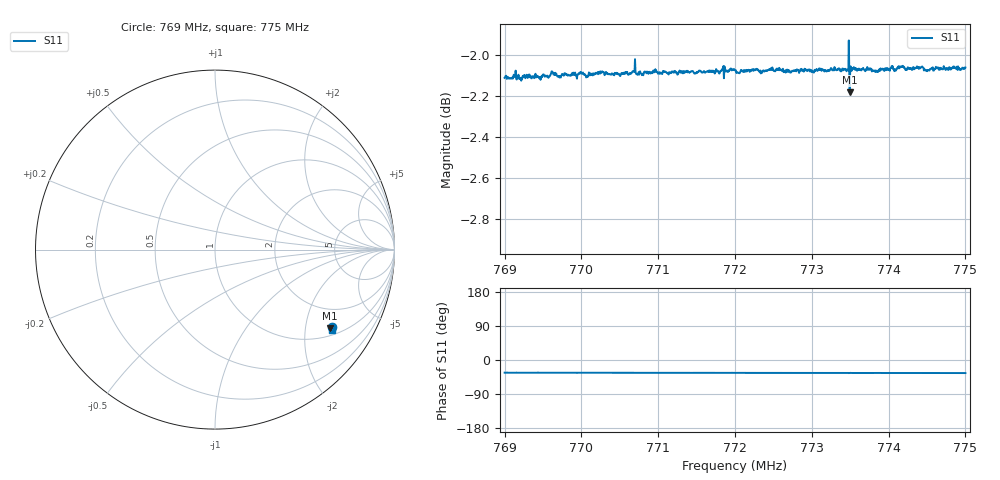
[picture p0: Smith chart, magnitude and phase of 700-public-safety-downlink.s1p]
! Calibrated averaged scanner-service zoom
# Hz S RI R 50
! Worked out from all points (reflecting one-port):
!   1001 points, 769 MHz to 775 MHz, reference 50 ohm
!   lowest |S11| = -2.2 dB at 773.494 MHz (marker M1), VSWR 8.00, Z = 61.6 - j137 ohm
!   phase of S11 starts at -34 deg and turns -1 deg over the sweep
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7.69e8  0.6537 -0.433
7.69114e8  0.6537 -0.4343
7.6918e8  0.6543 -0.4346
7.69348e8  0.6531 -0.4335
7.6945e8  0.6537 -0.4325
7.69618e8  0.6551 -0.4359
7.6975e8  0.6537 -0.436
7.70056e8  0.6535 -0.435
7.7026e8  0.6541 -0.4363
7.705e8  0.6524 -0.4366
7.70638e8  0.6537 -0.4362
7.70674e8  0.6541 -0.4378
7.70776e8  0.6535 -0.4367
7.7125e8  0.6518 -0.4382
7.72e8  0.6527 -0.4402
7.72324e8  0.6521 -0.4398
7.72456e8  0.6521 -0.4419
7.7275e8  0.6515 -0.4416
7.73494e8  0.6421 -0.4388
7.735e8  0.651 -0.4431
7.73824e8  0.6505 -0.4425
7.74142e8  0.652 -0.4443
7.7425e8  0.6517 -0.4443
7.74376e8  0.6505 -0.4453
7.74478e8  0.6504 -0.444
7.74622e8  0.6503 -0.4459
7.74772e8  0.6503 -0.4447
7.75e8  0.6501 -0.4463
